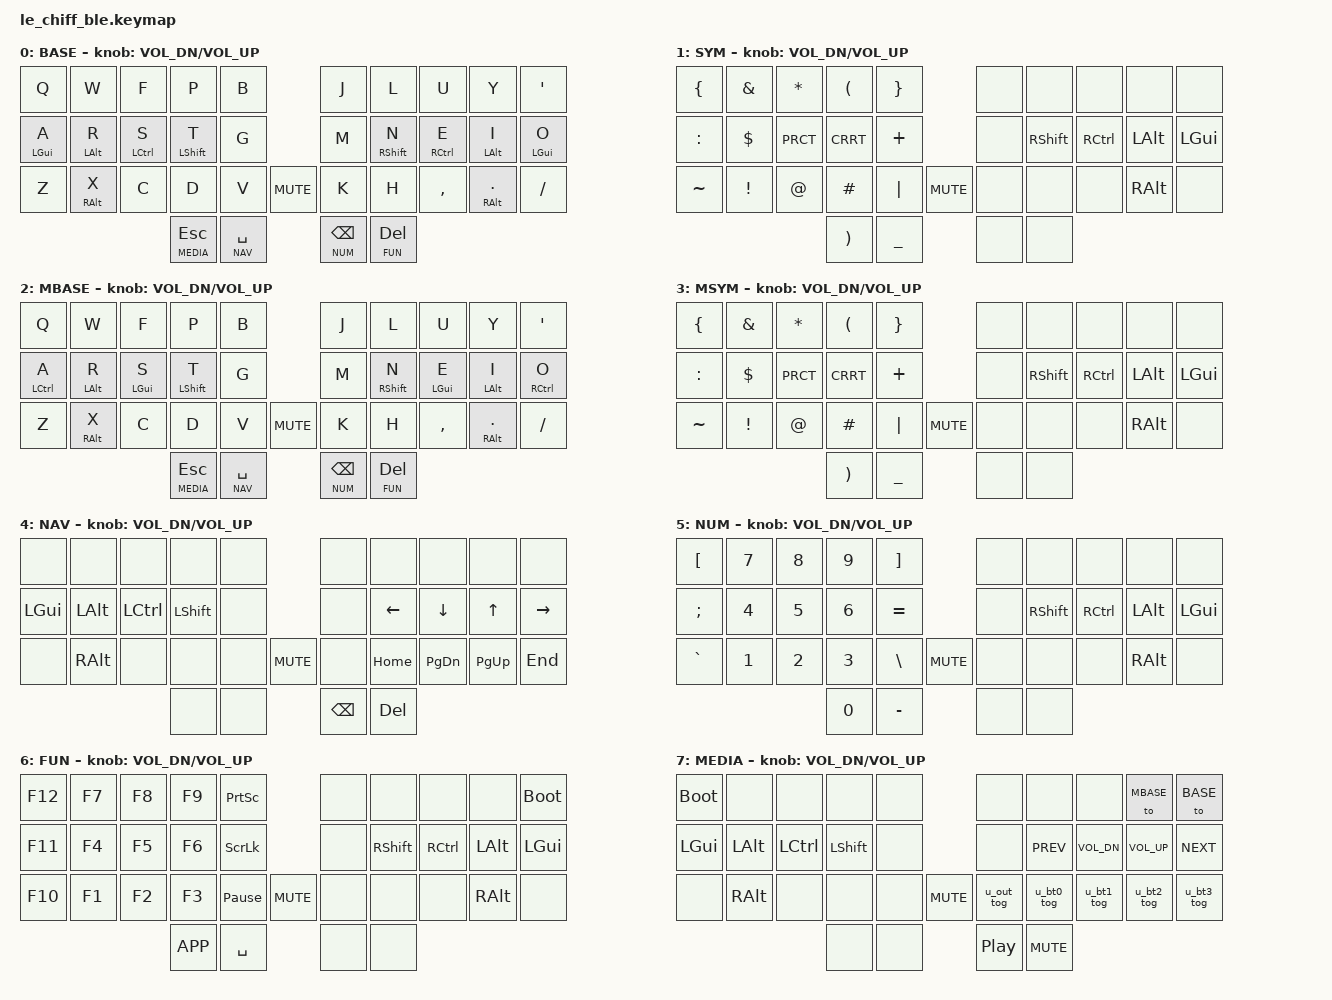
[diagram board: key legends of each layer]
/*
 * Copyright (c) 2021 @MangoIV
 *
 * SPDX-License-Identifier: MIT
 */

#include <behaviors.dtsi>
#include <dt-bindings/zmk/bt.h>
#include <dt-bindings/zmk/ext_power.h>
#include <dt-bindings/zmk/keys.h>
#include <dt-bindings/zmk/outputs.h>
#include <dt-bindings/zmk/rgb.h>

#define BASE  0
#define SYM   1
#define MBASE 2
#define MSYM  3
#define NAV   4
#define NUM   5
#define FUN   6
#define MEDIA 7

&lt {
    quick_tap_ms = <200>;
};

&caps_word {
    continue-list = <UNDERSCORE MINUS>;
};

&sl {
    release-after-ms = <2000>;
};

/ {
    combos {
        compatible = "zmk,combos";
        combo_auml {
            timeout-ms = <50>;
            key-positions = <0 10>;
            bindings = <&kp RA(Q)>;
            layers = <BASE>;
        };
        combo_ouml {
            timeout-ms = <50>;
            key-positions = <9 19>;
            bindings = <&kp RA(P)>;
            layers = <BASE>;
        };
        combo_uuml {
            timeout-ms = <50>;
            key-positions = <7 17>;
            bindings = <&kp RA(Y)>;
            layers = <BASE>;
        };
        combo_szlig {
            timeout-ms = <50>;
            key-positions = <2 12>;
            bindings = <&kp RA(S)>;
            layers = <BASE>;
        };
        combo_euro {
            timeout-ms = <50>;
            key-positions = <17 28>;
            bindings = <&kp RA(N5)>;
            layers = <BASE>;
        };
        combo_auml_mac {
            timeout-ms = <50>;
            key-positions = <0 10>;
            bindings = <&auml_mac>;
            layers = <MBASE>;
        };
        combo_ouml_mac {
            timeout-ms = <50>;
            key-positions = <9 19>;
            bindings = <&ouml_mac>;
            layers = <MBASE>;
        };
        combo_uuml_mac {
            timeout-ms = <50>;
            key-positions = <7 17>;
            bindings = <&uuml_mac>;
            layers = <MBASE SYM>;
        };
        combo_szlig_mac {
            timeout-ms = <50>;
            key-positions = <2 12>;
            bindings = <&mac_szlig>;
            layers = <MBASE>;
        };
        combo_euro_mac {
            timeout-ms = <50>;
            key-positions = <17 28>;
            bindings = <&mac_euro>;
            layers = <MBASE>;
        };
        combo_esc {
            timeout-ms = <50>;
            key-positions = <0 1>;
            bindings = <&lt MEDIA ESC>;
        };
        combo_space {
            timeout-ms = <50>;
            key-positions = <1 2>;
            bindings = <&lt NAV SPACE>;
        };
        combo_tab {
            timeout-ms = <50>;
            key-positions = <2 3>;
            bindings = <&kp TAB>;
        };
        combo_return {
            timeout-ms = <50>;
            key-positions = <6 7>;
            bindings = <&lt SYM RET>;
            layers = <BASE SYM>;
        };
        combo_mreturn {
            timeout-ms = <50>;
            key-positions = <6 7>;
            bindings = <&lt MSYM RET>;
            layers = <MBASE MSYM>;
        };
        combo_backspace {
            timeout-ms = <50>;
            key-positions = <7 8>;
            bindings = <&lt NUM BSPC>;
        };
        combo_delete {
            timeout-ms = <50>;
            key-positions = <8 9>;
            bindings = <&lt FUN DEL>;
        };
        combo_sl_media {
            timeout-ms = <50>;
            key-positions = <29 30>;
            bindings = <&sl MEDIA>;
        };
        combo_sl_nav {
            timeout-ms = <50>;
            key-positions = <28 29>;
            bindings = <&sl NAV>;
        };
        combo_sl_sym {
            timeout-ms = <50>;
            key-positions = <22 23>;
            bindings = <&sl SYM>;
            layers = <BASE SYM>;
        };
        combo_sl_msym {
            timeout-ms = <50>;
            key-positions = <22 23>;
            bindings = <&sl MSYM>;
            layers = <MBASE MSYM>;
        };
        combo_sl_num {
            timeout-ms = <50>;
            key-positions = <21 22>;
            bindings = <&sl NUM>;
        };
        combo_sl_fun {
            timeout-ms = <50>;
            key-positions = <20 21>;
            bindings = <&sl FUN>;
        };
        combo_capsWord {
            timeout-ms = <50>;
            key-positions = <22 28>;
            bindings = <&caps_word>;
        };
    };

    macros {
        u_bt0_clr: u_bt0_clr {
            label = "U_BT0_CLR";
            compatible = "zmk,behavior-macro";
            #binding-cells = <0>;
            bindings = <&macro_tap &bt BT_SEL 0 &bt BT_CLR>;
        };

        u_bt1_clr: u_bt1_clr {
            label = "U_BT1_CLR";
            compatible = "zmk,behavior-macro";
            #binding-cells = <0>;
            bindings = <&macro_tap &bt BT_SEL 1 &bt BT_CLR>;
        };

        u_bt2_clr: u_bt2_clr {
            label = "U_BT2_CLR";
            compatible = "zmk,behavior-macro";
            #binding-cells = <0>;
            bindings = <&macro_tap &bt BT_SEL 2 &bt BT_CLR>;
        };

        u_bt3_clr: u_bt3_clr {
            label = "U_BT3_CLR";
            compatible = "zmk,behavior-macro";
            #binding-cells = <0>;
            bindings = <&macro_tap &bt BT_SEL 3 &bt BT_CLR>;
        };
        
        auml_mac_lwr: auml_mac_lwr {
            compatible = "zmk,behavior-macro";
            label = "AUML_MAC_LWR";
            #binding-cells = <0>;
            wait-ms = <40>;
            tap-ms = <40>;
            bindings
                = <&macro_press   &kp LALT>
                , <&macro_tap     &kp U>
                , <&macro_release &kp LALT>
                , <&macro_tap     &kp A>;
        };

        auml_mac_upr: auml_mac_upr {
            compatible = "zmk,behavior-macro";
            label = "AUML_MAC_UPR";
            #binding-cells = <0>;
            wait-ms = <40>;
            tap-ms = <40>;
            bindings
                = <&macro_press   &kp LALT>
                , <&macro_tap     &kp U>
                , <&macro_release &kp LALT>
                , <&macro_press   &kp LSHFT>
                , <&macro_tap     &kp A>
                , <&macro_release &kp LSHFT>;
        };

        ouml_mac_lwr: ouml_mac_lwr {
            compatible = "zmk,behavior-macro";
            label = "OUML_MAC_LWR";
            #binding-cells = <0>;
            wait-ms = <40>;
            tap-ms = <40>;
            bindings
                = <&macro_press   &kp LALT>
                , <&macro_tap     &kp U>
                , <&macro_release &kp LALT>
                , <&macro_tap     &kp O>;
        };

        ouml_mac_upr: ouml_mac_upr {
            compatible = "zmk,behavior-macro";
            label = "OUML_MAC_UPR";
            #binding-cells = <0>;
            wait-ms = <40>;
            tap-ms = <40>;
            bindings
                = <&macro_press   &kp LALT>
                , <&macro_tap     &kp U>
                , <&macro_release &kp LALT>
                , <&macro_press   &kp LSHFT>
                , <&macro_tap     &kp O>
                , <&macro_release &kp LSHFT>;
        };

        uuml_mac_lwr: uuml_mac_lwr {
            compatible = "zmk,behavior-macro";
            label = "UUML_MAC_LWR";
            #binding-cells = <0>;
            wait-ms = <40>;
            tap-ms = <40>;
            bindings
                = <&macro_press   &kp LALT>
                , <&macro_tap     &kp U>
                , <&macro_release &kp LALT>
                , <&macro_tap     &kp U>;
        };

        uuml_mac_upr: uuml_mac_upr {
            compatible = "zmk,behavior-macro";
            label = "UUML_MAC_UPR";
            #binding-cells = <0>;
            wait-ms = <40>;
            tap-ms = <40>;
            bindings
                = <&macro_press   &kp LALT>
                , <&macro_tap     &kp U>
                , <&macro_release &kp LALT>
                , <&macro_press   &kp LSHFT>
                , <&macro_tap     &kp U>
                , <&macro_release &kp LSHFT>;
        };

        mac_szlig: mac_szlig {
            compatible = "zmk,behavior-macro";
            label = "MAC_SZLIG";
            #binding-cells = <0>;
            wait-ms = <40>;
            tap-ms = <40>;
            bindings
                = <&macro_press   &kp LALT>
                , <&macro_tap     &kp S>
                , <&macro_release &kp LALT>;
        };

        mac_euro: mac_euro {
            compatible = "zmk,behavior-macro";
            label = "MAC_EURO";
            #binding-cells = <0>;
            wait-ms = <40>;
            tap-ms = <40>;
            bindings
                = <&macro_press   &kp LALT &kp LSHFT>
                , <&macro_tap     &kp N2>
                , <&macro_release &kp LALT &kp LSHFT>;
        };

    };

    behaviors {
        hm: home-row-mods {
            compatible = "zmk,behavior-hold-tap";
            label = "HOME_ROW_MODS";
            #binding-cells = <2>;
            flavor = "tap-preferred";
            tapping-term-ms = <175>;
            quick-tap-ms = <125>;
            global-quick-tap;
            bindings = <&kp>, <&kp>;
        };

        hs: home-row-shift {
            compatible = "zmk,behavior-hold-tap";
            label = "HOME_ROW_SHIFT";
            #binding-cells = <2>;
            flavor = "balanced";
            tapping-term-ms = <175>;
            // quick-tap-ms = <125>;
            // global-quick-tap;
            bindings = <&kp>, <&kp>;
        };

        u_out_tog: u_out_tog {
            compatible = "zmk,behavior-mod-morph";
            label = "U_OUT_TOG";
            #binding-cells = <0>;
            bindings = <&out OUT_TOG>, <&out OUT_BLE>;
            mods = <(MOD_LSFT|MOD_RSFT)>;
        };

        u_bt0_tog: u_bt0_tog {
            compatible = "zmk,behavior-mod-morph";
            label = "U_BT0_TOG";
            #binding-cells = <0>;
            bindings = <&bt BT_SEL 0>, <&u_bt0_clr>;
            mods = <(MOD_LSFT|MOD_RSFT)>;
        };

        u_bt1_tog: u_bt1_tog {
            compatible = "zmk,behavior-mod-morph";
            label = "U_BT1_TOG";
            #binding-cells = <0>;
            bindings = <&bt BT_SEL 1>, <&u_bt1_clr>;
            mods = <(MOD_LSFT|MOD_RSFT)>;
        };

        u_bt2_tog: u_bt2_tog {
            compatible = "zmk,behavior-mod-morph";
            label = "U_BT2_TOG";
            #binding-cells = <0>;
            bindings = <&bt BT_SEL 2>, <&u_bt2_clr>;
            mods = <(MOD_LSFT|MOD_RSFT)>;
        };

        u_bt3_tog: u_bt3_tog {
            compatible = "zmk,behavior-mod-morph";
            label = "U_BT3_TOG";
            #binding-cells = <0>;
            bindings = <&bt BT_SEL 3>, <&u_bt3_clr>;
            mods = <(MOD_LSFT|MOD_RSFT)>;
        };
        
        auml_mac: auml_mac {
            compatible = "zmk,behavior-mod-morph";
            label = "AUML_MAC";
            #binding-cells = <0>;
            mods = <(MOD_LSFT|MOD_RSFT)>;
            bindings = <&auml_mac_lwr>, <&auml_mac_upr>;
        };
        
        ouml_mac: ouml_mac {
            compatible = "zmk,behavior-mod-morph";
            label = "OUML_MAC";
            #binding-cells = <0>;
            mods = <(MOD_LSFT|MOD_RSFT)>;
            bindings = <&ouml_mac_lwr>, <&ouml_mac_upr>;
        };
        
        uuml_mac: uuml_mac {
            compatible = "zmk,behavior-mod-morph";
            label = "UUML_MAC";
            #binding-cells = <0>;
            mods = <(MOD_LSFT|MOD_RSFT)>;
            bindings = <&uuml_mac_lwr>, <&uuml_mac_upr>;
        };
   };


    keymap {
        compatible = "zmk,keymap";
        
        base_layer {
            label= "BASE";
            bindings = <
                &kp Q         &kp W         &kp F         &kp P         &kp B                       &kp J         &kp L         &kp U         &kp Y         &kp QUOT
                &hm LGUI A    &hm LALT R    &hm LCTRL S   &hs LSHFT T   &kp G                       &kp M         &hs RSHFT N   &hm RCTRL E   &hm LALT I    &hm LGUI O
                &kp Z         &hm RALT X    &kp C         &kp D         &kp V         &kp C_MUTE    &kp K         &kp H         &kp COMMA     &hm RALT DOT  &kp SLASH
                                                          &lt MEDIA ESC &lt NAV SPACE               &lt NUM BSPC  &lt FUN DEL
            >;
            sensor-bindings = <&inc_dec_kp C_VOL_DN C_VOL_UP>;
        };

        sym_layer {
            label= "SYM";
            bindings = <
                &kp LBRC      &kp AMPS      &kp ASTRK     &kp LPAR      &kp RBRC                    &none         &none         &none         &none         &none
                &kp COLON     &kp DLLR      &kp PRCT      &kp CRRT      &kp PLUS                    &none         &kp RSHFT     &kp RCTRL     &kp LALT      &kp LGUI
                &kp TILDE     &kp EXCL      &kp AT        &kp HASH      &kp PIPE      &kp C_MUTE    &none         &none         &none         &kp RALT      &none
                                                          &kp RPAR      &kp UNDER                   &none         &none
             >;
             sensor-bindings = <&inc_dec_kp C_VOL_DN C_VOL_UP>;
        };

        mbase_layer {
            label= "MBASE";
            bindings = <
                &kp Q         &kp W         &kp F         &kp P         &kp B                       &kp J         &kp L         &kp U         &kp Y         &kp QUOT
                &hm LCTRL A   &hm LALT R    &hm LGUI S    &hs LSHFT T   &kp G                       &kp M         &hs RSHFT N   &hm LGUI E    &hm LALT I    &hm RCTRL O
                &kp Z         &hm RALT X    &kp C         &kp D         &kp V         &kp C_MUTE    &kp K         &kp H         &kp COMMA     &hm RALT DOT  &kp SLASH
                                                          &lt MEDIA ESC &lt NAV SPACE               &lt NUM BSPC  &lt FUN DEL
            >;
            sensor-bindings = <&inc_dec_kp C_VOL_DN C_VOL_UP>;
        };

        msym_layer {
            label= "MSYM";
            bindings = <
                &kp LBRC      &kp AMPS      &kp ASTRK     &kp LPAR      &kp RBRC                    &none         &none         &none         &none         &none
                &kp COLON     &kp DLLR      &kp PRCT      &kp CRRT      &kp PLUS                    &none         &kp RSHFT     &kp RCTRL     &kp LALT      &kp LGUI
                &kp TILDE     &kp EXCL      &kp AT        &kp HASH      &kp PIPE      &kp C_MUTE    &none         &none         &none         &kp RALT      &none
                                                          &kp RPAR      &kp UNDER                   &none         &none
             >;
             sensor-bindings = <&inc_dec_kp C_VOL_DN C_VOL_UP>;
        };

        nav_layer {
            label= "NAV";
            bindings = <
                &none         &none         &none         &none         &none                       &none         &none         &none         &none         &none
                &kp LGUI      &kp LALT      &kp LCTRL     &kp LSHFT     &none                       &none         &kp LEFT      &kp DOWN      &kp UP        &kp RIGHT
                &none         &kp RALT      &none         &none         &none         &kp C_MUTE    &none         &kp HOME      &kp PG_DN     &kp PG_UP     &kp END
                                                          &none         &none                       &kp BSPC      &kp DEL
            >;
            sensor-bindings = <&inc_dec_kp C_VOL_DN C_VOL_UP>;
        };

        num_layer {
            label= "NUM";
            bindings = <
                &kp LBKT      &kp N7        &kp N8        &kp N9        &kp RBKT                    &none         &none         &none         &none         &none
                &kp SEMI      &kp N4        &kp N5        &kp N6        &kp EQUAL                   &none         &kp RSHFT     &kp RCTRL     &kp LALT      &kp LGUI
                &kp GRAVE     &kp N1        &kp N2        &kp N3        &kp BSLH      &kp C_MUTE    &none         &none         &none         &kp RALT      &none
                                                          &kp N0        &kp MINUS                   &none         &none
            >;
            sensor-bindings = <&inc_dec_kp C_VOL_DN C_VOL_UP>;
        };

        fun_layer {
            label= "FUN";
            bindings = <
                &kp F12       &kp F7        &kp F8        &kp F9        &kp PSCRN                   &none         &none         &none         &none         &bootloader
                &kp F11       &kp F4        &kp F5        &kp F6        &kp SLCK                    &none         &kp RSHFT     &kp RCTRL     &kp LALT      &kp LGUI
                &kp F10       &kp F1        &kp F2        &kp F3        &kp PAUSE_BREAK &kp C_MUTE  &none         &none         &none         &kp RALT      &none
                                                          &kp K_APP     &kp SPACE                   &none         &none
            >;
            sensor-bindings = <&inc_dec_kp C_VOL_DN C_VOL_UP>;
        };

        media_layer {
            label= "MEDIA";
            bindings = <
                &bootloader    &none        &none         &none         &none                       &none         &none         &none         &to MBASE     &to BASE
                &kp LGUI       &kp LALT     &kp LCTRL     &kp LSHFT     &none                       &none         &kp C_PREV    &kp C_VOL_DN  &kp C_VOL_UP  &kp C_NEXT
                &none          &kp RALT     &none         &none         &none         &kp C_MUTE    &u_out_tog    &u_bt0_tog    &u_bt1_tog    &u_bt2_tog    &u_bt3_tog
                                                          &none         &none                       &kp C_PP      &kp C_MUTE
            >;
            sensor-bindings = <&inc_dec_kp C_VOL_DN C_VOL_UP>;
        };
    };

};
